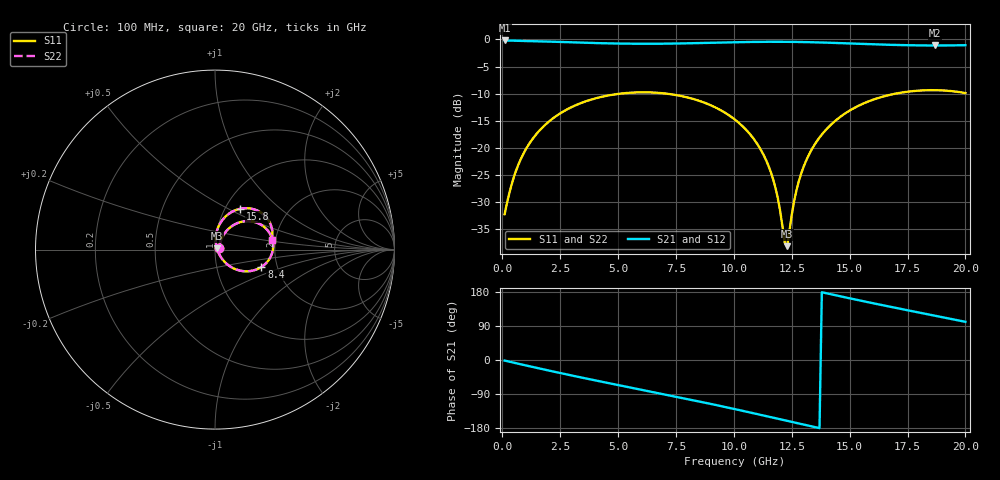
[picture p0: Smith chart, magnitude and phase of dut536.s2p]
! Touchstone file exported from HFSS 2026.1.0
!  File:  C:/ffzhzh/LocalFiles/Ansys_Project_Files/temp_train_TSV_RDL_536_1783112703_37876.aedt
!  Generated:  05:17:22 AM Jul  4, 2026
!  Design:  TSV_RDL
!  Project:  temp_train_TSV_RDL_536_1783112703_37876
! Variables:
!  h_bsmrdl = 5.62um
!  h_ox = 20um
!  h_rdl = 5um
!  h_sub = 56.54um
!  h_tmrdl = 2.32um
!  h_tsv = 56.54um
!  h_via = 3um
!  l_bsmrdl = 891.04um
!  l_sub = 4358.67um
!  l_tmrdl = 290.24um
!  m_sub = 200um
!  pitch = 42.07um
!  r_tsv = 13.82um
!  s_tmrdl = 10um
!  w_bsmrdl = 29.76um
!  w_sub = 500um
!  w_tmrdl = 11.77um
!  x_tsv_center1 = 296.125um
!  x_tsv_center2 = 1216.925um
!  x_tsv_center3 = 1518.935um
!  x_tsv_center4 = 2439.735um
!  x_tsv_center5 = 2741.745um
!  x_tsv_center6 = 3662.545um
# GHz S MA R 50.000000
! Terminal data exported
! Port[1] = TM_RDL1_1_T1
! Port[2] = TM_RDL5_1_T1
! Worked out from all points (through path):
!   200 points, 100 MHz to 20 GHz, reference 50 ohm
!   highest |S21| = -0.19 dB at 100 MHz (marker M1); lowest = -1.1 dB at 18.7 GHz (marker M2)
!   group delay of S21, straight-line fit = 36.1 ps
!   lowest |S11| = -38.1 dB at 12.3 GHz (marker M3), VSWR 1.03, Z = 51.1 + j0.654 ohm
!   |S11| at or under -10 dB: start of sweep to 5.092 GHz; 7.091 GHz to 16.98 GHz (9.889 GHz wide, 82.2 % of centre)
!   |S22| runs from -37.9 to -9.4 dB; largest |S21 - S12| = 1.7e-14
!   S11 on the Smith chart (normalised r, x): 100 MHz: 1.05, +0.02; 8.4 GHz: 1.65, -0.35; 15.8 GHz: 1.18, +0.58; 20 GHz: 1.90, +0.24
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0.1  0.02449 24.6  0.9779 -1.5  0.9779 -1.5  0.02449 24.6
! Gamma 0 0 0 0
! Port Impedance 50 0 50 0
0.6  0.0622 57.6  0.9733 -8.6  0.9733 -8.6  0.0622 57.6
1.2  0.1122 59.1  0.9666 -16.9  0.9666 -16.9  0.1122 59.1
2.2  0.188 50.6  0.9523 -30.4  0.9523 -30.4  0.188 50.6
3.5  0.2639 36.1  0.9323 -47.3  0.9323 -47.3  0.2639 36.1
5.1  0.3164 17.8  0.9151 -67.3  0.9151 -67.3  0.3164 17.8
6.8  0.3208 -1.8  0.9125 -88.1  0.9125 -88.1  0.3208 -1.8
8.4  0.2761 -20.5  0.924 -108.1  0.924 -108.1  0.2761 -20.5
10.1  0.1786 -40.6  0.9421 -130.4  0.9421 -130.4  0.1786 -40.5
10.9  0.1177 -49.1  0.9484 -141.2  0.9484 -141.2  0.1178 -49.0
11.5  0.06802 -52.8  0.9508 -149.5  0.9508 -149.5  0.06806 -52.5
11.8  0.04265 -50.7  0.951 -153.6  0.951 -153.6  0.04273 -50.2
12.2  0.01329 -7.7  0.9504 -159.2  0.9504 -159.2  0.0136 -7.0
12.3  0.01242 31.0  0.95 -160.5  0.95 -160.5  0.01276 30.7
12.6  0.03205 80.2  0.9485 -164.7  0.9485 -164.7  0.0322 79.7
12.8  0.04883 85.3  0.9472 -167.5  0.9472 -167.5  0.04893 84.9
13.4  0.09984 84.6  0.9415 -175.7  0.9415 -175.7  0.09989 84.4
14.4  0.1791 74.6  0.9277 170.7  0.9277 170.7  0.1791 74.5
15.8  0.2676 58.3  0.905 152.5  0.905 152.5  0.2676 58.2
16.7  0.307 47.8  0.8922 141.2  0.8922 141.2  0.307 47.7
18.7  0.3404 24.8  0.879 116.7  0.879 116.7  0.3404 24.8
20  0.3203 10.1  0.8843 100.7  0.8843 100.7  0.3203 10.1
